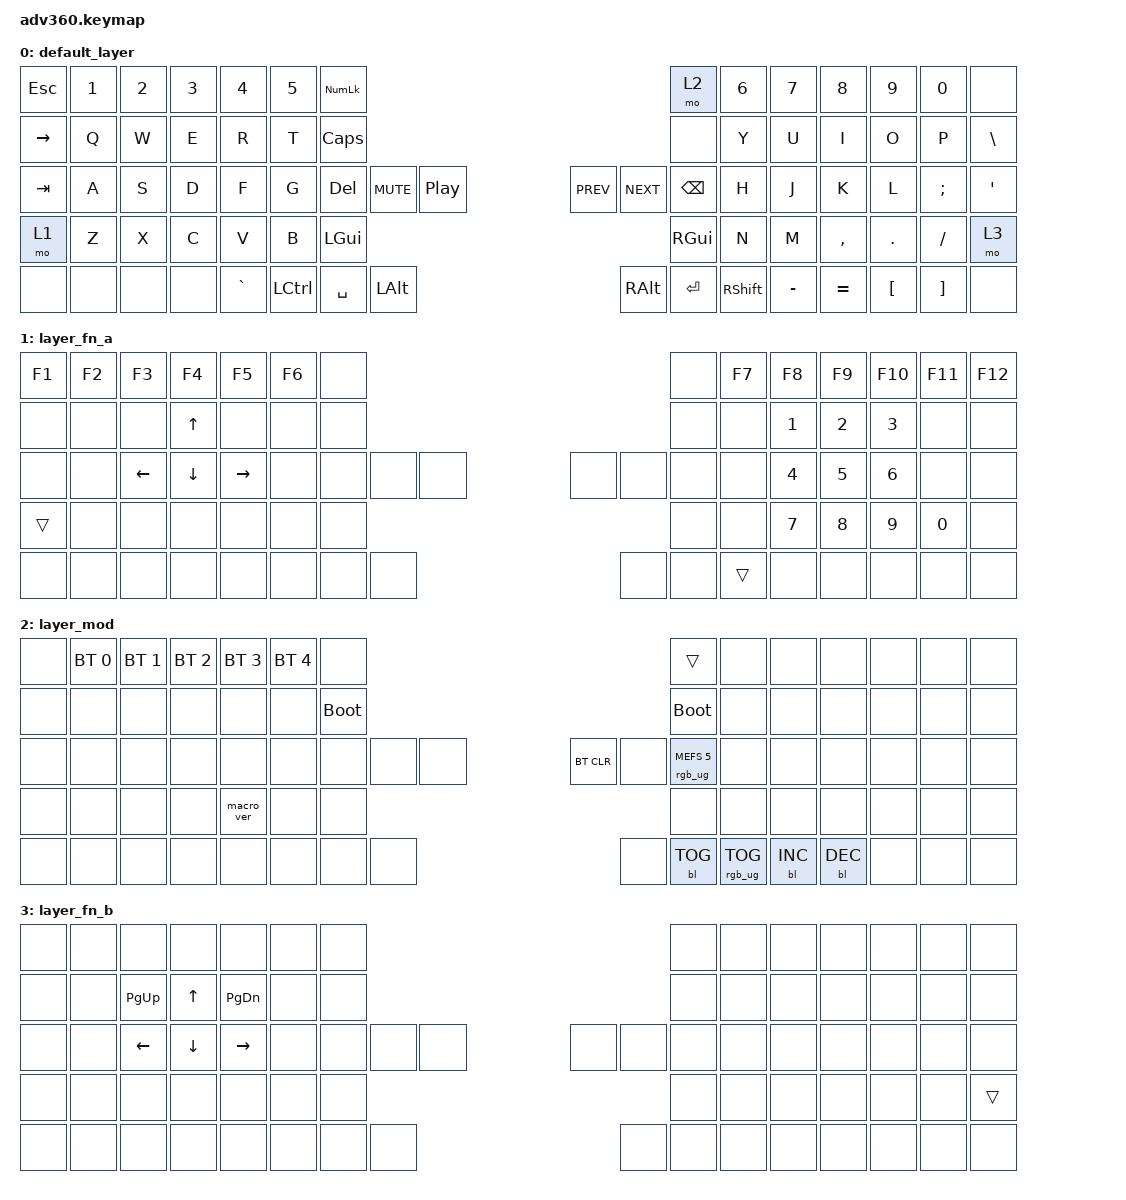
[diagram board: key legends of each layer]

/*
 * Copyright (c) 2020 The ZMK Contributors
 *
 * SPDX-License-Identifier: MIT
 */


/* THIS FILE WAS GENERATED!
 *
 * This file was generated automatically. You may or may not want to
 * edit it directly.
 */

#include <behaviors.dtsi>
#include <dt-bindings/zmk/keys.h>
#include <dt-bindings/zmk/bt.h>
#include <dt-bindings/zmk/rgb.h>
#include <dt-bindings/zmk/backlight.h>

/ {
  behaviors {
    #include "macros.dtsi"
    #include "version.dtsi"

    hm: homerow_mods {
        compatible = "zmk,behavior-hold-tap";
        label = "HOMEROW_MODS";
        #binding-cells = <2>;
        tapping-term-ms = <200>;
        quick_tap_ms = <175>;
        flavor = "tap-preferred";
        bindings = <&kp>, <&kp>;
    };
  };

    keymap {
        compatible = "zmk,keymap";


        default_layer {
            bindings = <
   &kp ESC  &kp N1  &kp N2  &kp N3     &kp N4  &kp N5            &kp KP_NUM                                                                                     &mo 2  &kp N6     &kp N7     &kp N8            &kp N9             &kp N0             &none
 &kp RIGHT   &kp Q   &kp W   &kp E      &kp R   &kp T              &kp CAPS                                                                                     &none   &kp Y      &kp U      &kp I             &kp O              &kp P     &kp BACKSLASH
   &kp TAB   &kp A   &kp S   &kp D      &kp F   &kp G               &kp DEL  &kp C_MUTE  &kp C_PLAY_PAUSE                     &kp C_PREV  &kp C_NEXT    &kp BACKSPACE   &kp H      &kp J      &kp K             &kp L           &kp SEMI  &kp SINGLE_QUOTE
     &mo 1   &kp Z   &kp X   &kp C      &kp V   &kp B                                        &kp LEFT_GUI                  &kp RIGHT_GUI                                &kp N      &kp M  &kp COMMA           &kp DOT           &kp FSLH             &mo 3
     &none   &none   &none   &none  &kp GRAVE                     &kp LCTRL   &kp SPACE      &kp LEFT_ALT                  &kp RIGHT_ALT   &kp ENTER  &kp RIGHT_SHIFT          &kp MINUS  &kp EQUAL  &kp LEFT_BRACKET  &kp RIGHT_BRACKET             &none
            >;
        };

        layer_fn_a {
            bindings = <
 &kp F1  &kp F2    &kp F3    &kp F4     &kp F5  &kp F6            &none                                                   &none  &kp F7  &kp F8  &kp F9  &kp F10  &kp F11  &kp F12
  &none   &none     &none    &kp UP      &none   &none            &none                                                   &none   &none  &kp N1  &kp N2   &kp N3    &none    &none
  &none   &none  &kp LEFT  &kp DOWN  &kp RIGHT   &none            &none   &none   &none                   &none   &none   &none   &none  &kp N4  &kp N5   &kp N6    &none    &none
 &trans   &none     &none     &none      &none   &none                            &none                   &none                   &none  &kp N7  &kp N8   &kp N9   &kp N0    &none
  &none   &none     &none     &none      &none                    &none   &none   &none                   &none   &none  &trans           &none   &none    &none    &none    &none
            >;
        };

        layer_mod {
            bindings = <
  &none  &bt BT_SEL 0  &bt BT_SEL 1  &bt BT_SEL 2  &bt BT_SEL 3  &bt BT_SEL 4                  &none                                                                          &trans   &none       &none       &none   &none   &none   &none
  &none         &none         &none         &none         &none         &none            &bootloader                                                                     &bootloader   &none       &none       &none   &none   &none   &none
  &none         &none         &none         &none         &none         &none                  &none   &none   &none                  &bt BT_CLR       &none  &rgb_ug RGB_MEFS_CMD 5   &none       &none       &none   &none   &none   &none
  &none         &none         &none         &none    &macro_ver         &none                                  &none                       &none                                       &none       &none       &none   &none   &none   &none
  &none         &none         &none         &none         &none                                &none   &none   &none                       &none  &bl BL_TOG         &rgb_ug RGB_TOG          &bl BL_INC  &bl BL_DEC   &none   &none   &none
            >;
        };

        layer_fn_b {
            bindings = <
  &none   &none        &none     &none          &none   &none            &none                                                   &none   &none   &none   &none   &none   &none   &none
  &none   &none  &kp PAGE_UP    &kp UP  &kp PAGE_DOWN   &none            &none                                                   &none   &none   &none   &none   &none   &none   &none
  &none   &none     &kp LEFT  &kp DOWN      &kp RIGHT   &none            &none   &none   &none                   &none   &none   &none   &none   &none   &none   &none   &none   &none
  &none   &none        &none     &none          &none   &none                            &none                   &none                   &none   &none   &none   &none   &none  &trans
  &none   &none        &none     &none          &none                    &none   &none   &none                   &none   &none   &none           &none   &none   &none   &none   &none
            >;
        };

    };
};
